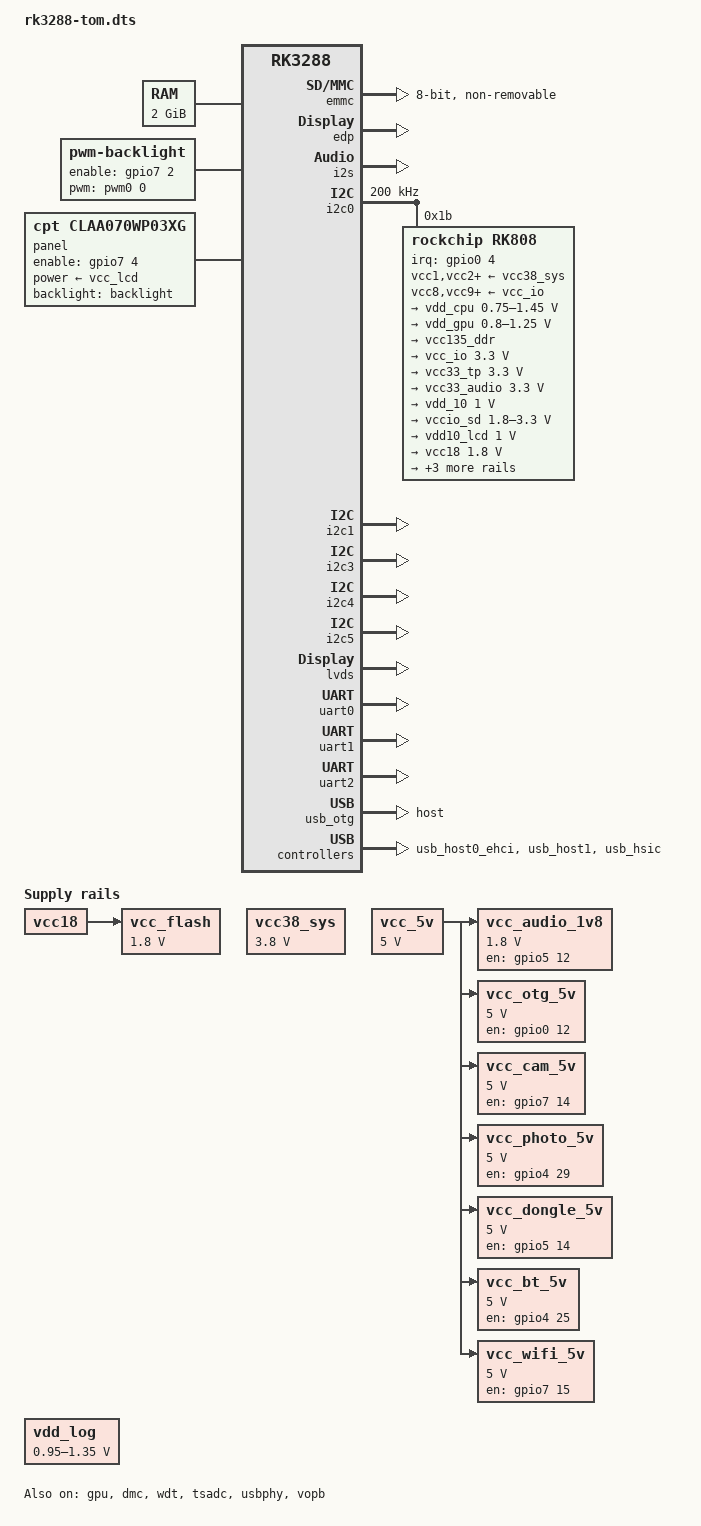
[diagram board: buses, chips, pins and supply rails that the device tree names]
/*
 * This file is dual-licensed: you can use it either under the terms
 * of the GPL or the X11 license, at your option. Note that this dual
 * licensing only applies to this file, and not this project as a
 * whole.
 *
 *  a) This file is free software; you can redistribute it and/or
 *     modify it under the terms of the GNU General Public License as
 *     published by the Free Software Foundation; either version 2 of the
 *     License, or (at your option) any later version.
 *
 *     This file is distributed in the hope that it will be useful,
 *     but WITHOUT ANY WARRANTY; without even the implied warranty of
 *     MERCHANTABILITY or FITNESS FOR A PARTICULAR PURPOSE.  See the
 *     GNU General Public License for more details.
 *
 * Or, alternatively,
 *
 *  b) Permission is hereby granted, free of charge, to any person
 *     obtaining a copy of this software and associated documentation
 *     files (the "Software"), to deal in the Software without
 *     restriction, including without limitation the rights to use,
 *     copy, modify, merge, publish, distribute, sublicense, and/or
 *     sell copies of the Software, and to permit persons to whom the
 *     Software is furnished to do so, subject to the following
 *     conditions:
 *
 *     The above copyright notice and this permission notice shall be
 *     included in all copies or substantial portions of the Software.
 *
 *     THE SOFTWARE IS PROVIDED "AS IS", WITHOUT WARRANTY OF ANY KIND,
 *     EXPRESS OR IMPLIED, INCLUDING BUT NOT LIMITED TO THE WARRANTIES
 *     OF MERCHANTABILITY, FITNESS FOR A PARTICULAR PURPOSE AND
 *     NONINFRINGEMENT. IN NO EVENT SHALL THE AUTHORS OR COPYRIGHT
 *     HOLDERS BE LIABLE FOR ANY CLAIM, DAMAGES OR OTHER LIABILITY,
 *     WHETHER IN AN ACTION OF CONTRACT, TORT OR OTHERWISE, ARISING
 *     FROM, OUT OF OR IN CONNECTION WITH THE SOFTWARE OR THE USE OR
 *     OTHER DEALINGS IN THE SOFTWARE.
 */

/dts-v1/;
#include <dt-bindings/pwm/pwm.h>
#include "rk3288.dtsi"

/ {
	compatible = "rockchip,rk3288-tom", "rockchip,rk3288";

	memory {
		device_type = "memory";
		reg = <0x0 0x80000000>;
	};

	vcc38_sys: vsys-regulator {
		compatible = "regulator-fixed";
		regulator-name = "vcc38_sys";
		regulator-min-microvolt = <3800000>;
		regulator-max-microvolt = <3800000>;
		regulator-always-on;
		regulator-boot-on;
	};

	vcc_flash: flash-regulator {
		compatible = "regulator-fixed";
		regulator-name = "vcc_flash";
		regulator-min-microvolt = <1800000>;
		regulator-max-microvolt = <1800000>;
		vin-supply = <&vcc18>;
	};

	vcc_audio_1v8: audio-regulator {
		compatible = "regulator-fixed";
		enable-active-high;
		gpio = <&gpio5 12 GPIO_ACTIVE_HIGH>;
		pinctrl-names = "default";
		pinctrl-0 = <&codec_en>;
		regulator-name = "vcc_audio_1v8";
		regulator-min-microvolt = <1800000>;
		regulator-max-microvolt = <1800000>;
		regulator-always-on;
		vin-supply = <&vcc_5v>;
	};

	vcc_5v: vcc-5v {
		compatible = "regulator-fixed";
		regulator-name = "vcc_5v";
		regulator-min-microvolt = <5000000>;
		regulator-max-microvolt = <5000000>;
		regulator-always-on;
		regulator-boot-on;
	};

	vcc_otg_5v: usb-otg-regulator {
		compatible = "regulator-fixed";
		enable-active-high;
		gpio = <&gpio0 12 GPIO_ACTIVE_HIGH>;
		pinctrl-names = "default";
		pinctrl-0 = <&otg_vbus_drv>;
		regulator-name = "vcc_otg_5v";
		regulator-min-microvolt = <5000000>;
		regulator-max-microvolt = <5000000>;
		regulator-always-on;
		vin-supply = <&vcc_5v>;
	};

	vcc_cam_5v: camera-regulator {
		compatible = "regulator-fixed";
		enable-active-high;
		gpio = <&gpio7 14 GPIO_ACTIVE_HIGH>;
		pinctrl-names = "default";
		pinctrl-0 = <&cam_en>;
		regulator-name = "vcc_cam_5v";
		regulator-min-microvolt = <5000000>;
		regulator-max-microvolt = <5000000>;
		regulator-always-on;
		vin-supply = <&vcc_5v>;
	};

	vcc_photo_5v: usb-photo-regulator {
		compatible = "regulator-fixed";
		enable-active-high;
		gpio = <&gpio4 29 GPIO_ACTIVE_HIGH>;
		pinctrl-names = "default";
		pinctrl-0 = <&photo_en>;
		regulator-name = "vcc_photo_5v";
		regulator-min-microvolt = <5000000>;
		regulator-max-microvolt = <5000000>;
		regulator-always-on;
		vin-supply = <&vcc_5v>;
	};

	vcc_dongle_5v: dongle-regulator {
		compatible = "regulator-fixed";
		enable-active-high;
		gpio = <&gpio5 14 GPIO_ACTIVE_HIGH>;
		pinctrl-names = "default";
		pinctrl-0 = <&dongle_en>;
		regulator-name = "vcc_dongle_5v";
		regulator-min-microvolt = <5000000>;
		regulator-max-microvolt = <5000000>;
		regulator-always-on;
		vin-supply = <&vcc_5v>;
	};

	vcc_bt_5v: bt-regulator {
		compatible = "regulator-fixed";
		enable-active-high;
		gpio = <&gpio4 25 GPIO_ACTIVE_HIGH>;
		pinctrl-names = "default";
		pinctrl-0 = <&bt_en>;
		regulator-name = "vcc_bt_5v";
		regulator-min-microvolt = <5000000>;
		regulator-max-microvolt = <5000000>;
		regulator-always-on;
		vin-supply = <&vcc_5v>;
	};

	vcc_wifi_5v: bt-regulator {
		compatible = "regulator-fixed";
		enable-active-high;
		gpio = <&gpio7 15 GPIO_ACTIVE_HIGH>;
		pinctrl-names = "default";
		pinctrl-0 = <&wifi_en>;
		regulator-name = "vcc_wifi_5v";
		regulator-min-microvolt = <5000000>;
		regulator-max-microvolt = <5000000>;
		regulator-always-on;
		vin-supply = <&vcc_5v>;
	};

	vdd_log: pwm-regulator {
		compatible = "pwm-regulator";
		pwms = <&pwm1 0 2000 0>;

		voltage-table = <1350000 0>,
				<1300000 10>,
				<1250000 20>,
				<1200000 31>,
				<1150000 41>,
				<1100000 52>,
				<1050000 62>,
				<1000000 72>,
				< 950000 83>;

		regulator-min-microvolt = <950000>;
		regulator-max-microvolt = <1350000>;
		regulator-name = "vdd_log";
		regulator-ramp-delay = <4000>;
	};

	wireless-wlan {
		compatible = "zero-client,bcmdhd_wlan";
		status = "okay";
	};

	backlight: backlight {
		compatible = "pwm-backlight";
		brightness-levels = <
			  0   1   2   3   4   5   6   7
			  8   9  10  11  12  13  14  15
			 16  17  18  19  20  21  22  23
			 24  25  26  27  28  29  30  31
			 32  33  34  35  36  37  38  39
			 40  41  42  43  44  45  46  47
			 48  49  50  51  52  53  54  55
			 56  57  58  59  60  61  62  63
			 64  65  66  67  68  69  70  71
			 72  73  74  75  76  77  78  79
			 80  81  82  83  84  85  86  87
			 88  89  90  91  92  93  94  95
			 96  97  98  99 100 101 102 103
			104 105 106 107 108 109 110 111
			112 113 114 115 116 117 118 119
			120 121 122 123 124 125 126 127
			128 129 130 131 132 133 134 135
			136 137 138 139 140 141 142 143
			144 145 146 147 148 149 150 151
			152 153 154 155 156 157 158 159
			160 161 162 163 164 165 166 167
			168 169 170 171 172 173 174 175
			176 177 178 179 180 181 182 183
			184 185 186 187 188 189 190 191
			192 193 194 195 196 197 198 199
			200 201 202 203 204 205 206 207
			208 209 210 211 212 213 214 215
			216 217 218 219 220 221 222 223
			224 225 226 227 228 229 230 231
			232 233 234 235 236 237 238 239
			240 241 242 243 244 245 246 247
			248 249 250 251 252 253 254 255>;
		default-brightness-level = <128>;
		enable-gpios = <&gpio7 2 GPIO_ACTIVE_HIGH>;
		pinctrl-names = "default";
		pinctrl-0 = <&bl_en>;
		pwms = <&pwm0 0 1000000 PWM_POLARITY_INVERTED>;
		pwm-delay-us = <10000>;
	};

	panel: panel {
		compatible ="cpt,claa070wp03xg","simple-panel";
		status = "okay";
		power-supply = <&vcc_lcd>;
		enable-gpios = <&gpio7 4 GPIO_ACTIVE_HIGH>;
		pinctrl-names = "default";
		pinctrl-0 = <&lcd_en>;
		backlight = <&backlight>;
	};
};

&cpu0 {
	cpu0-supply = <&vdd_cpu>;
};

&gpu {
	status = "okay";
	mali-supply = <&vdd_gpu>;
};

&dmc {
	status = "okay";
	logic-supply = <&vdd_log>;
	rockchip,odt-disable-freq = <333000000>;
	rockchip,dll-disable-freq = <333000000>;
	rockchip,sr-enable-freq = <333000000>;
	rockchip,auto-self-refresh-cnt = <0>;
	rockchip,auto-power-down-cnt = <64>;
	rockchip,ddr-speed-bin = <21>;
	rockchip,trcd = <10>;
	rockchip,trp = <10>;
	rockchip,pd-enable-freq = <533000000>;
	rockchip,dmc-disable-freq = <666000000>;
	operating-points = <
		/* KHz    uV */
		200000 1050000
		333000 1100000
		533000 1150000
		666000 1200000
	>;
};

&emmc {
	broken-cd;
	bus-width = <8>;
	cap-mmc-highspeed;
	mmc-hs200-1_8v;
	disable-wp;
	non-removable;
	num-slots = <1>;
	pinctrl-names = "default";
	pinctrl-0 = <&emmc_clk &emmc_cmd &emmc_pwr &emmc_bus8>;
	status = "okay";
};

&edp {
	status = "okay";
	rockchip,panel = <&panel>;
};

&i2s {
	status = "okay";
	clock-names = "i2s_hclk", "i2s_clk", "i2s_clk_out";
	clocks = <&cru HCLK_I2S0>, <&cru SCLK_I2S0>, <&cru SCLK_I2S0_OUT>;

	assigned-clocks = <&cru SCLK_I2S0>,  <&cru SCLK_I2S0_PRE>, <&cru SCLK_I2S0_SRC>;
	assigned-clock-parents = <&cru SCLK_I2S0_PRE>, <&cru SCLK_I2S0_FRAC>, <&cru PLL_GPLL>;
};

&i2c0 {
	status = "okay";
	clock-frequency = <200000>;

	rk808: pmic@1b {
		compatible = "rockchip,rk808";
		clock-output-names = "xin32k", "wifibt_32kin";
		interrupt-parent = <&gpio0>;
		interrupts = <4 IRQ_TYPE_LEVEL_LOW>;
		pinctrl-names = "default";
		pinctrl-0 = <&pmic_int_l>;
		reg = <0x1b>;
		rockchip,system-power-controller;
		wakeup-source;
		#clock-cells = <1>;

		vcc1-supply = <&vcc38_sys>;
		vcc2-supply = <&vcc38_sys>;
		vcc3-supply = <&vcc38_sys>;
		vcc4-supply = <&vcc38_sys>;
		vcc6-supply = <&vcc38_sys>;
		vcc7-supply = <&vcc38_sys>;
		vcc8-supply = <&vcc_io>;
		vcc9-supply = <&vcc_io>;
		vcc10-supply = <&vcc38_sys>;
		vcc11-supply = <&vcc38_sys>;
		vcc12-supply = <&vcc_io>;

		vddio-supply = <&vcc_io>;

		regulators {
			vdd_cpu: DCDC_REG1 {
				regulator-always-on;
				regulator-boot-on;
				regulator-min-microvolt = <750000>;
				regulator-max-microvolt = <1450000>;
				regulator-name = "vdd_arm";
				regulator-ramp-delay = <6001>;
				regulator-suspend-mem-disabled;
			};

			vdd_gpu: DCDC_REG2 {
				regulator-always-on;
				regulator-boot-on;
				regulator-min-microvolt = <800000>;
				regulator-max-microvolt = <1250000>;
				regulator-name = "vdd_gpu";
				regulator-ramp-delay = <6001>;
				regulator-suspend-mem-disabled;
			};

			vcc135_ddr: DCDC_REG3 {
				regulator-always-on;
				regulator-boot-on;
				regulator-name = "vcc135_ddr";
				regulator-suspend-mem-enabled;
			};

			vcc_io: DCDC_REG4 {
				regulator-always-on;
				regulator-boot-on;
				regulator-min-microvolt = <3300000>;
				regulator-max-microvolt = <3300000>;
				regulator-name = "vcc_io";
				regulator-suspend-mem-microvolt = <3300000>;
			};

			vcc33_tp: LDO_REG1 {
				regulator-always-on;
				regulator-boot-on;
				regulator-min-microvolt = <3300000>;
				regulator-max-microvolt = <3300000>;
				regulator-name = "vcc33_tp";
				regulator-suspend-mem-microvolt = <3300000>;
			};

			vcc33_audio: vcc33_codec: LDO_REG2 {
				regulator-always-on;
				regulator-boot-on;
				regulator-min-microvolt = <3300000>;
				regulator-max-microvolt = <3300000>;
				regulator-name = "vcc33_codec";
				regulator-suspend-mem-disabled;
			};

			vdd_10: LDO_REG3 {
				regulator-always-on;
				regulator-boot-on;
				regulator-min-microvolt = <1000000>;
				regulator-max-microvolt = <1000000>;
				regulator-name = "vdd_10";
				regulator-suspend-mem-microvolt = <1000000>;
			};

			vccio_sd: LDO_REG5 {
				regulator-min-microvolt = <1800000>;
				regulator-max-microvolt = <3300000>;
				regulator-name = "vccio_sd";
				regulator-suspend-mem-disabled;
			};

			vdd10_lcd: LDO_REG6 {
				regulator-always-on;
				regulator-boot-on;
				regulator-min-microvolt = <1000000>;
				regulator-max-microvolt = <1000000>;
				regulator-name = "vdd10_lcd";
				regulator-suspend-mem-disabled;
			};

			vcc18: LDO_REG7 {
				regulator-always-on;
				regulator-boot-on;
				regulator-min-microvolt = <1800000>;
				regulator-max-microvolt = <1800000>;
				regulator-name = "vcc18";
				regulator-suspend-mem-disabled;
			};

			vcc18_lcd: LDO_REG8 {
				regulator-always-on;
				regulator-boot-on;
				regulator-min-microvolt = <1800000>;
				regulator-max-microvolt = <1800000>;
				regulator-name = "vcc18_lcd";
				regulator-suspend-mem-disabled;
			};

			vcc33_sd: SWITCH_REG1 {
				regulator-always-on;
				regulator-boot-on;
				regulator-name = "vcc33_sd";
				regulator-suspend-mem-disabled;
			};

			vcc_lcd: SWITCH_REG2 {
				regulator-always-on;
				regulator-boot-on;
				regulator-name = "vcc_lcd";
				regulator-suspend-mem-disabled;
			};
		};
	};
};

&i2c1 {
	status = "okay";
};

&i2c3 {
	status = "okay";
};

&i2c4 {
	status = "okay";
};

&i2c5 {
	status = "okay";
};

&lvds {
	rockchip,data-mapping = "jeida";
	rockchip,data-width = <24>;
	rockchip,output = "lvds";
	rockchip,panel = <&panel>;
	status = "okay";
};

&wdt {
	status = "okay";
};

&uart0 {
	status = "okay";
};

&uart1 {
	status = "okay";
};

&uart2 {
	status = "okay";
};

&tsadc {
	rockchip,hw-tshut-mode = <1>; /* tshut mode 0:CRU 1:GPIO */
	rockchip,hw-tshut-polarity = <1>; /* tshut polarity 0:LOW 1:HIGH */
	status = "okay";
};

&pinctrl {
	pinctrl-names = "default", "sleep";
	pinctrl-0 = <
		/* Common for sleep and wake, but no owners */
		&ddr0_retention
		&ddrio_pwroff
		&global_pwroff
	>;
	pinctrl-1 = <
		/* Common for sleep and wake, but no owners */
		&ddr0_retention
		&ddrio_pwroff
		&global_pwroff
	>;

	pcfg_pull_none_drv_8ma: pcfg-pull-none-drv-8ma {
		drive-strength = <8>;
	};

	pcfg_pull_up_drv_8ma: pcfg-pull-up-drv-8ma {
		bias-pull-up;
		drive-strength = <8>;
	};

	pcfg_output_high: pcfg-output-high {
		output-high;
	};

	pcfg_output_low: pcfg-output-low {
		output-low;
	};

	backlight {
		bl_en: bl-en {
			rockchip,pins = <7 2 RK_FUNC_GPIO &pcfg_pull_none>;
		};
	};

	codec {
		codec_en: codec-en {
			rockchip,pins = <5 12 RK_FUNC_2 &pcfg_pull_none>;
		};
	};

	emmc {
		/*
		 * We run eMMC at max speed; bump up drive strength.
		 * We also have external pulls, so disable the internal ones.
		 */
		emmc_clk: emmc-clk {
			rockchip,pins = <3 18 RK_FUNC_2 &pcfg_pull_none_drv_8ma>;
		};

		emmc_cmd: emmc-cmd {
			rockchip,pins = <3 16 RK_FUNC_2 &pcfg_pull_none_drv_8ma>;
		};

		emmc_bus8: emmc-bus8 {
			rockchip,pins = <3 0 RK_FUNC_2 &pcfg_pull_none_drv_8ma>,
					<3 1 RK_FUNC_2 &pcfg_pull_none_drv_8ma>,
					<3 2 RK_FUNC_2 &pcfg_pull_none_drv_8ma>,
					<3 3 RK_FUNC_2 &pcfg_pull_none_drv_8ma>,
					<3 4 RK_FUNC_2 &pcfg_pull_none_drv_8ma>,
					<3 5 RK_FUNC_2 &pcfg_pull_none_drv_8ma>,
					<3 6 RK_FUNC_2 &pcfg_pull_none_drv_8ma>,
					<3 7 RK_FUNC_2 &pcfg_pull_none_drv_8ma>;
		};
	};

	lcd {
		lcd_en: lcd-en {
			rockchip,pins = <7 4 RK_FUNC_GPIO &pcfg_pull_none>;
		};
	};

	pmic {
		pmic_int_l: pmic-int-l {
			rockchip,pins = <RK_GPIO0 4 RK_FUNC_GPIO &pcfg_pull_up>;
		};
	};

	sdmmc {
		/*
		 * Default drive strength isn't enough to achieve even
		 * high-speed mode on EVB board so bump up to 8ma.
		 */
		sdmmc_bus4: sdmmc-bus4 {
			rockchip,pins = <6 16 RK_FUNC_1 &pcfg_pull_up_drv_8ma>,
					<6 17 RK_FUNC_1 &pcfg_pull_up_drv_8ma>,
					<6 18 RK_FUNC_1 &pcfg_pull_up_drv_8ma>,
					<6 19 RK_FUNC_1 &pcfg_pull_up_drv_8ma>;
		};

		sdmmc_clk: sdmmc-clk {
			rockchip,pins = <6 20 RK_FUNC_1 &pcfg_pull_none_drv_8ma>;
		};

		sdmmc_cmd: sdmmc-cmd {
			rockchip,pins = <6 21 RK_FUNC_1 &pcfg_pull_up_drv_8ma>;
		};

		sdmmc_pwr: sdmmc-pwr {
			rockchip,pins = <7 11 RK_FUNC_GPIO &pcfg_pull_none>;
		};
	};

	usb {
		otg_vbus_drv: otg-vbus-drv {
			rockchip,pins = <0 12 RK_FUNC_GPIO &pcfg_pull_none>;
		};

		cam_en: cam-en {
			rockchip,pins = <7 14 RK_FUNC_GPIO &pcfg_pull_none>;
		};

		photo_en: photo-en {
			rockchip,pins = <4 29 RK_FUNC_GPIO &pcfg_pull_none>;
		};

		dongle_en: dongle-en {
			rockchip,pins = <5 14 RK_FUNC_GPIO &pcfg_pull_none>;
		};

		bt_en: bt-en {
			rockchip,pins = <4 25 RK_FUNC_GPIO &pcfg_pull_none>;
		};

		wifi_en: wifi-en {
			rockchip,pins = <7 15 RK_FUNC_GPIO &pcfg_pull_none>;
		};
	};
};

&usbphy {
	status = "okay";
};

&usb_otg {
	dr_mode = "host";
	status = "okay";
};

&usb_host0_ehci {
	status = "okay";
};

&usb_host1 {
	status = "okay";
};

&usb_hsic {
	status = "okay";
};

&vopb {
	status = "okay";
};

&vopb_mmu {
	status = "okay";
};
